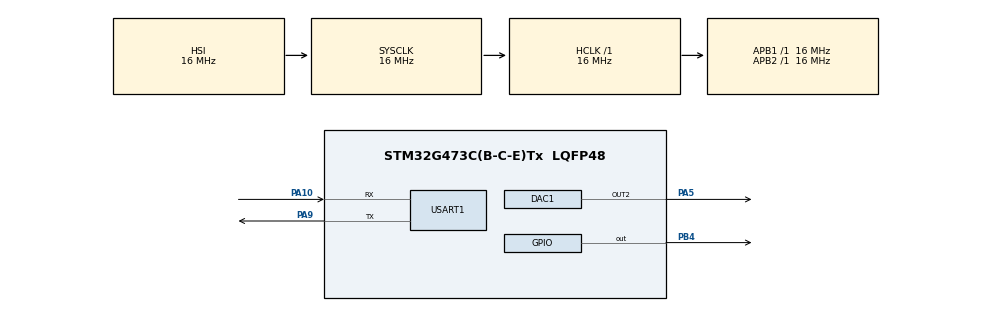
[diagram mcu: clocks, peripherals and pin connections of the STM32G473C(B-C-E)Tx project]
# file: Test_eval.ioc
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DAC1.DAC_Channel-DAC_OUT2=DAC_CHANNEL_2
Dma.Request0=USART1_TX
Dma.Request1=USART1_RX
Dma.USART1_RX.1.Direction=DMA_PERIPH_TO_MEMORY
Dma.USART1_RX.1.EventEnable=DISABLE
Dma.USART1_RX.1.Instance=DMA1_Channel2
Dma.USART1_RX.1.MemDataAlignment=DMA_MDATAALIGN_BYTE
Dma.USART1_RX.1.MemInc=DMA_MINC_ENABLE
Dma.USART1_RX.1.Mode=DMA_NORMAL
Dma.USART1_RX.1.PeriphDataAlignment=DMA_PDATAALIGN_BYTE
Dma.USART1_RX.1.PeriphInc=DMA_PINC_DISABLE
Dma.USART1_RX.1.Polarity=HAL_DMAMUX_REQ_GEN_RISING
Dma.USART1_RX.1.Priority=DMA_PRIORITY_HIGH
Dma.USART1_RX.1.RequestNumber=1
Dma.USART1_RX.1.SignalID=NONE
Dma.USART1_RX.1.SyncEnable=DISABLE
Dma.USART1_RX.1.SyncPolarity=HAL_DMAMUX_SYNC_NO_EVENT
Dma.USART1_RX.1.SyncRequestNumber=1
Dma.USART1_RX.1.SyncSignalID=NONE
Dma.USART1_TX.0.Direction=DMA_MEMORY_TO_PERIPH
Dma.USART1_TX.0.EventEnable=DISABLE
Dma.USART1_TX.0.Instance=DMA1_Channel1
Dma.USART1_TX.0.MemDataAlignment=DMA_MDATAALIGN_BYTE
Dma.USART1_TX.0.MemInc=DMA_MINC_ENABLE
Dma.USART1_TX.0.Mode=DMA_NORMAL
Dma.USART1_TX.0.PeriphDataAlignment=DMA_PDATAALIGN_BYTE
Dma.USART1_TX.0.PeriphInc=DMA_PINC_DISABLE
Dma.USART1_TX.0.Polarity=HAL_DMAMUX_REQ_GEN_RISING
Dma.USART1_TX.0.Priority=DMA_PRIORITY_LOW
Dma.USART1_TX.0.RequestNumber=1
Dma.USART1_TX.0.SignalID=NONE
Dma.USART1_TX.0.SyncEnable=DISABLE
Dma.USART1_TX.0.SyncPolarity=HAL_DMAMUX_SYNC_NO_EVENT
Dma.USART1_TX.0.SyncRequestNumber=1
Dma.USART1_TX.0.SyncSignalID=NONE
Mcu.Family=STM32G4
Mcu.Name=STM32G473C(B-C-E)Tx
Mcu.Package=LQFP48
NVIC.DMA1_Channel1_IRQn=true\:0\:0\:false\:false\:true\:false\:true\:true
NVIC.DMA1_Channel2_IRQn=true\:0\:0\:false\:false\:true\:false\:true\:true
NVIC.PriorityGroup=NVIC_PRIORITYGROUP_4
NVIC.USART1_IRQn=true\:0\:0\:false\:false\:true\:true\:true\:true
PA10.Mode=Asynchronous
PA10.Signal=USART1_RX
PA13.Mode=Serial_Wire
PA13.Signal=SYS_JTMS-SWDIO
PA14.Mode=Serial_Wire
PA14.Signal=SYS_JTCK-SWCLK
PA5.Signal=COMP_DAC12_group
PA9.Mode=Asynchronous
PA9.Signal=USART1_TX
PB4.Signal=GPIO_Output
ProjectManager.HeapSize=0x200
ProjectManager.StackSize=0x400
ProjectManager.TargetToolchain=STM32CubeIDE
RCC.AHBFreq_Value=16000000
RCC.APB1Freq_Value=16000000
RCC.APB1TimFreq_Value=16000000
RCC.APB2Freq_Value=16000000
RCC.APB2TimFreq_Value=16000000
RCC.CortexFreq_Value=16000000
RCC.EXTERNAL_CLOCK_VALUE=12288000
RCC.HCLKFreq_Value=16000000
RCC.HSE_VALUE=8000000
RCC.HSI48_VALUE=48000000
RCC.HSI_VALUE=16000000
RCC.LSE_VALUE=32768
RCC.SYSCLKFreq_VALUE=16000000
RCC.USBFreq_Value=64000000
RCC.VCOOutputFreq_Value=128000000
SH.COMP_DAC12_group.0=DAC1_OUT2,DAC_OUT2
USART1.VirtualMode-Asynchronous=VM_ASYNC
VP_SYS_VS_DBSignals.Mode=DisableDeadBatterySignals
board=custom

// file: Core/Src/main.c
/* USER CODE BEGIN Header */
/**
  ******************************************************************************
  * @file           : main.c
  * @brief          : Main program body
  ******************************************************************************
  * @attention
  *
  * Copyright (c) 2023 STMicroelectronics.
  * All rights reserved.
  *
  * This software is licensed under terms that can be found in the LICENSE file
  * in the root directory of this software component.
  * If no LICENSE file comes with this software, it is provided AS-IS.
  *
  ******************************************************************************
  */
/* USER CODE END Header */
#include "main.h"
#include "dac.h"
#include "dma.h"
#include "usart.h"
#include "gpio.h"

/* USER CODE BEGIN Includes */
#include <string.h>

/* USER CODE END Includes */

void SystemClock_Config(void);
/* USER CODE BEGIN PFP */
#ifdef __GNUC__
/* With GCC, small printf (option LD Linker->Libraries->Small printf
   set to 'Yes') calls __io_putchar() */
#define PUTCHAR_PROTOTYPE int __io_putchar(int ch)
#else
#define PUTCHAR_PROTOTYPE int fputc(int ch, FILE *f)
#endif /* __GNUC__ */

/**
  * @brief  Retargets the C library printf function to the USART.
  * @param  None
  * @retval None
  */
PUTCHAR_PROTOTYPE
{
  /* Place your implementation of fputc here */
  /* e.g. write a character to the USART3 and Loop until the end of transmission */
  HAL_UART_Transmit(&huart1, (uint8_t *)&ch, 1, 0xFFFF);

  return ch;
}

/* USER CODE END PFP */

int main(void)
{

  /* MCU Configuration--------------------------------------------------------*/

  /* Reset of all peripherals, Initializes the Flash interface and the Systick. */
  HAL_Init();

  /* Configure the system clock */
  SystemClock_Config();

  /* Initialize all configured peripherals */
  MX_GPIO_Init();
  MX_DMA_Init();
  MX_USART1_UART_Init();
  MX_DAC1_Init();
  /* USER CODE BEGIN 2 */
  HAL_DAC_Start(&hdac1,DAC_CHANNEL_2);
  /* USER CODE END 2 */

  /* Infinite loop */
  while (1)
  {

    /* USER CODE BEGIN 3 */
	  HAL_GPIO_WritePin(GPIOB,GPIO_PIN_4,0);
	  HAL_DAC_SetValue(&hdac1,DAC_CHANNEL_2,DAC_ALIGN_12B_R,0);
	  if(USART1_RECV_CPLT_FLAG ==1)
	  	{
		  	for(int i=0;i<32;++i)
		  	{
		  		HAL_DAC_SetValue(&hdac1,DAC_CHANNEL_2,DAC_ALIGN_12B_R,4095);
		  		HAL_Delay(2);
		  	}
		  	for(int i=0;i<16;++i)
		  	{
		  		HAL_DAC_SetValue(&hdac1,DAC_CHANNEL_2,DAC_ALIGN_12B_R,0);
		  		HAL_Delay(2);
		  	}
	  		//printf("rx_len=%d\r\n",USART1_RX_LEN);//打印接收长度
	  		//HAL_UART_Transmit(&huart1,USART1_RX_BUF, USART1_RX_LEN,200);//接收数据打印出来
	  		for(int i=0;i<USART1_RX_LEN;i++)
	  		{
	  			uint8_t val=USART1_RX_BUF[i];
	  			//printf("Val %d: 0x%x\r\n",i,val);
	  			for(uint8_t j=0;j<8;++j)
	  			{
	  				uint8_t bit_val=(val>>(7-j))&1;
	  				//printf("%d\r\n",bit_val);
	  				//HAL_GPIO_WritePin(GPIOB,GPIO_PIN_4,bit_val);
	  				HAL_DAC_SetValue(&hdac1,DAC_CHANNEL_2,DAC_ALIGN_12B_R,2500);
	  				HAL_Delay(2);
	  				HAL_DAC_SetValue(&hdac1,DAC_CHANNEL_2,DAC_ALIGN_12B_R,bit_val*4095);
	  				HAL_Delay(2);
	  			}

	  		}
	  		//HAL_UART_Transmit(&huart1,USART1_RX_BUF, USART1_RX_LEN,200);//接收数据打印出来
	  		printf("Transmission Over.\n");
	  		// 清除数据
	  		memset(USART1_RX_BUF,0,USART1_RX_BUF_SIZE);
	  		USART1_RX_LEN=0;//清除计数
	  		USART1_RECV_CPLT_FLAG=0;//清除接收结束标志位
	  	}
	  	HAL_UART_Receive_DMA(&huart1,USART1_RX_BUF,USART1_RX_BUF_SIZE);
  }
  /* USER CODE END 3 */
}

void SystemClock_Config(void)
{
  RCC_OscInitTypeDef RCC_OscInitStruct = {0};
  RCC_ClkInitTypeDef RCC_ClkInitStruct = {0};

  /** Configure the main internal regulator output voltage
  */
  HAL_PWREx_ControlVoltageScaling(PWR_REGULATOR_VOLTAGE_SCALE1);

  /** Initializes the RCC Oscillators according to the specified parameters
  * in the RCC_OscInitTypeDef structure.
  */
  RCC_OscInitStruct.OscillatorType = RCC_OSCILLATORTYPE_HSI;
  RCC_OscInitStruct.HSIState = RCC_HSI_ON;
  RCC_OscInitStruct.HSICalibrationValue = RCC_HSICALIBRATION_DEFAULT;
  RCC_OscInitStruct.PLL.PLLState = RCC_PLL_NONE;
  if (HAL_RCC_OscConfig(&RCC_OscInitStruct) != HAL_OK)
  {
    Error_Handler();
  }

  /** Initializes the CPU, AHB and APB buses clocks
  */
  RCC_ClkInitStruct.ClockType = RCC_CLOCKTYPE_HCLK|RCC_CLOCKTYPE_SYSCLK
                              |RCC_CLOCKTYPE_PCLK1|RCC_CLOCKTYPE_PCLK2;
  RCC_ClkInitStruct.SYSCLKSource = RCC_SYSCLKSOURCE_HSI;
  RCC_ClkInitStruct.AHBCLKDivider = RCC_SYSCLK_DIV1;
  RCC_ClkInitStruct.APB1CLKDivider = RCC_HCLK_DIV1;
  RCC_ClkInitStruct.APB2CLKDivider = RCC_HCLK_DIV1;

  if (HAL_RCC_ClockConfig(&RCC_ClkInitStruct, FLASH_LATENCY_0) != HAL_OK)
  {
    Error_Handler();
  }
}

void Error_Handler(void)
{
  __disable_irq();
  while (1)
  {
  }
}
